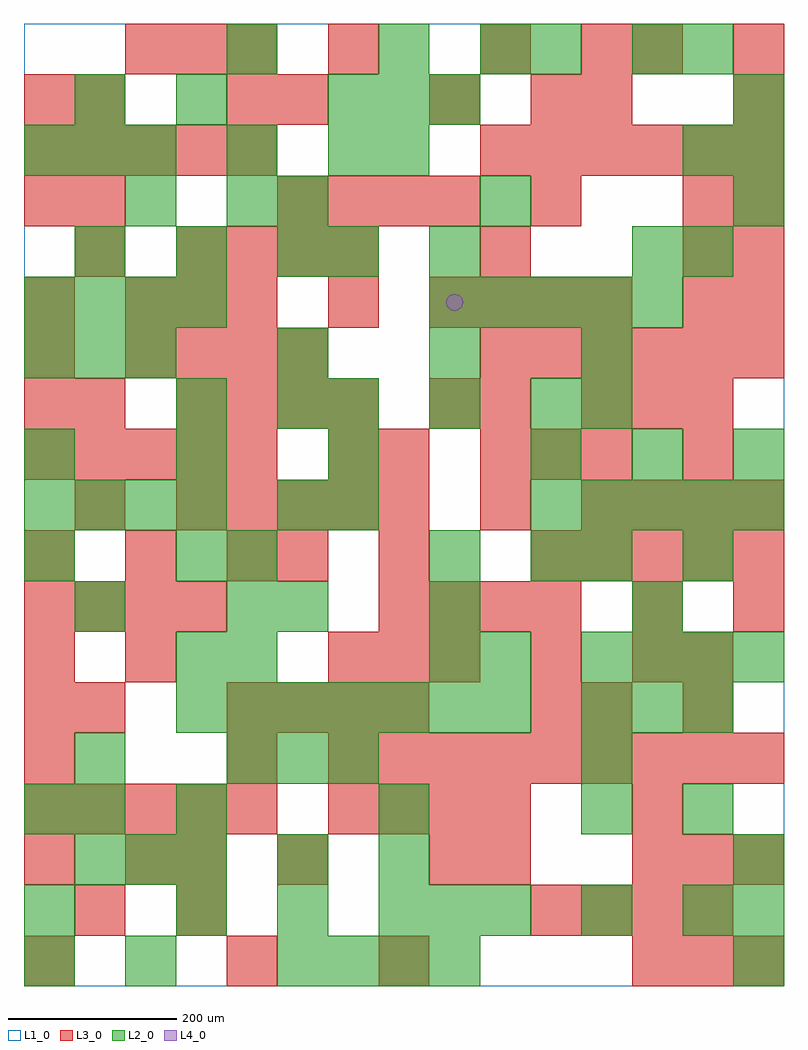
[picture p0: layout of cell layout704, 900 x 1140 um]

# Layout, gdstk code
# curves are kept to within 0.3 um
import gdstk
lib = gdstk.Library(unit=1e-6, precision=1e-09)
def R(c, l, rs):  # rectangles x0, y0, x1, y1
    for r in rs: c.add(gdstk.rectangle(r[:2], r[2:], *l))
def A(c, l, x, y, w, h, nx, ny, dx, dy):  # array of equal rectangles
    R(c, l, [(x+i*dx, y+j*dy, x+i*dx+w, y+j*dy+h) for i in range(nx) for j in range(ny)])
def P(c, l, *ps):  # polygons
    for p in ps: c.add(gdstk.Polygon(p, *l))
L1_0 = (1, 0)
L2_0 = (2, 0)
L3_0 = (3, 0)
L4_0 = (4, 0)

layout704 = lib.new_cell('layout704')
R(layout704, L1_0, [(0,0,900,1140)])
A(layout704, L2_0, 300, 0, 60, 60, 4, 1, 60, 0)
A(layout704, L2_0, 840, 0, 60, 60, 1, 3, 0, 60)
A(layout704, L2_0, 180, 60, 60, 60, 3, 1, 120, 0)
A(layout704, L2_0, 540, 60, 60, 60, 3, 1, 120, 0)
A(layout704, L2_0, 60, 120, 60, 60, 3, 1, 60, 0)
A(layout704, L2_0, 180, 180, 60, 60, 3, 1, 240, 0)
A(layout704, L2_0, 240, 240, 60, 60, 3, 1, 60, 0)
A(layout704, L2_0, 180, 300, 60, 60, 7, 1, 60, 0)
A(layout704, L2_0, 660, 300, 60, 60, 3, 1, 60, 0)
A(layout704, L2_0, 240, 360, 60, 60, 1, 3, 0, 60)
A(layout704, L2_0, 480, 360, 60, 60, 1, 3, 0, 60)
A(layout704, L2_0, 660, 360, 60, 60, 4, 1, 60, 0)
A(layout704, L2_0, 300, 420, 60, 60, 1, 3, 0, 120)
A(layout704, L2_0, 0, 540, 60, 60, 4, 2, 60, 240)
A(layout704, L2_0, 600, 540, 60, 60, 5, 1, 60, 0)
A(layout704, L2_0, 0, 600, 60, 60, 3, 1, 180, 0)
A(layout704, L2_0, 600, 600, 60, 60, 3, 1, 120, 0)
A(layout704, L2_0, 360, 660, 60, 60, 3, 1, 120, 0)
A(layout704, L2_0, 0, 720, 60, 60, 3, 2, 60, 240)
A(layout704, L2_0, 300, 720, 60, 60, 3, 1, 180, 0)
A(layout704, L2_0, 480, 780, 60, 60, 5, 1, 60, 0)
A(layout704, L2_0, 60, 840, 60, 60, 3, 1, 120, 0)
A(layout704, L2_0, 780, 840, 60, 60, 1, 3, 0, 120)
A(layout704, L2_0, 840, 900, 60, 60, 1, 3, 0, 60)
A(layout704, L2_0, 360, 1020, 60, 60, 3, 1, 60, 0)
R(layout704, L2_0, [(0,0,60,60), (120,0,180,60), (0,60,60,120), (480,60,540,120), (300,120,360,180), (420,120,480,180), (0,180,60,240), (60,180,120,240), (780,180,840,240), (60,240,120,300), (660,240,720,300), (180,360,240,420), (540,360,600,420), (60,420,120,480), (720,420,780,480), (0,480,60,540), (180,480,240,540), (600,480,660,540), (660,480,720,540), (780,480,840,540), (360,540,420,600), (180,660,240,720), (660,660,720,720), (360,840,420,900), (480,840,540,900), (720,840,780,900), (120,900,180,960), (240,900,300,960), (300,900,360,960), (540,900,600,960), (240,960,300,1020), (360,960,420,1020), (420,960,480,1020), (60,1020,120,1080), (180,1020,240,1080), (240,1080,300,1140), (420,1080,480,1140), (540,1080,600,1140), (600,1080,660,1140), (720,1080,780,1140)])
A(layout704, L3_0, 0, 0, 60, 60, 1, 3, 0, 120)
A(layout704, L3_0, 720, 0, 60, 60, 3, 2, 60, 120)
A(layout704, L3_0, 60, 60, 60, 60, 1, 3, 0, 240)
A(layout704, L3_0, 600, 60, 60, 60, 4, 1, 60, 0)
A(layout704, L3_0, 0, 180, 60, 60, 5, 2, 60, 420)
A(layout704, L3_0, 360, 180, 60, 60, 4, 1, 60, 0)
A(layout704, L3_0, 360, 240, 60, 60, 9, 1, 60, 0)
A(layout704, L3_0, 240, 300, 60, 60, 4, 1, 60, 0)
A(layout704, L3_0, 360, 360, 60, 60, 3, 1, 60, 0)
A(layout704, L3_0, 0, 420, 60, 60, 4, 1, 60, 0)
A(layout704, L3_0, 420, 420, 60, 60, 4, 1, 60, 0)
A(layout704, L3_0, 0, 480, 60, 60, 3, 1, 120, 0)
A(layout704, L3_0, 600, 480, 60, 60, 5, 1, 60, 0)
A(layout704, L3_0, 180, 540, 60, 60, 5, 1, 60, 0)
A(layout704, L3_0, 660, 540, 60, 60, 4, 1, 60, 0)
A(layout704, L3_0, 540, 600, 60, 60, 3, 1, 60, 0)
A(layout704, L3_0, 0, 660, 60, 60, 1, 3, 0, 60)
A(layout704, L3_0, 180, 660, 60, 60, 4, 2, 60, 180)
A(layout704, L3_0, 660, 660, 60, 60, 3, 1, 60, 0)
A(layout704, L3_0, 120, 720, 60, 60, 4, 1, 60, 0)
A(layout704, L3_0, 540, 720, 60, 60, 6, 2, 60, 240)
A(layout704, L3_0, 120, 780, 60, 60, 3, 2, 60, 300)
A(layout704, L3_0, 480, 780, 60, 60, 4, 1, 60, 0)
A(layout704, L3_0, 780, 780, 60, 60, 1, 3, 0, 60)
A(layout704, L3_0, 840, 780, 60, 60, 1, 3, 0, 60)
A(layout704, L3_0, 300, 900, 60, 60, 4, 1, 60, 0)
A(layout704, L3_0, 0, 960, 60, 60, 5, 1, 60, 0)
R(layout704, L3_0, [(240,0,300,60), (420,0,480,60), (180,60,240,120), (120,120,180,180), (180,120,240,180), (300,120,360,180), (480,120,540,180), (540,120,600,180), (720,180,780,240), (240,240,300,300), (0,300,60,360), (600,300,660,360), (660,300,720,360), (780,300,840,360), (0,360,60,420), (120,360,180,420), (600,360,660,420), (720,360,780,420), (780,360,840,420), (720,420,780,480), (840,420,900,480), (300,480,360,540), (420,480,480,540), (540,540,600,600), (360,600,420,660), (420,600,480,660), (780,600,840,660), (60,660,120,720), (480,660,540,720), (540,660,600,720), (360,780,420,840), (60,840,120,900), (540,840,600,900), (0,900,60,960), (60,900,120,960), (600,900,660,960), (0,1020,60,1080), (60,1020,120,1080), (240,1020,300,1080), (300,1020,360,1080), (480,1020,540,1080), (600,1020,660,1080), (660,1020,720,1080), (840,1020,900,1080), (360,1080,420,1140), (540,1080,600,1140), (660,1080,720,1140), (720,1080,780,1140), (840,1080,900,1140)])
P(layout704, L4_0, [(520,810),(519.239,813.827),(517.071,817.071),(513.827,819.239),(510,820),(506.173,819.239),(502.929,817.071),(500.761,813.827),(500,810),(500.761,806.173),(502.929,802.929),(506.173,800.761),(510,800),(513.827,800.761),(517.071,802.929),(519.239,806.173)])

lib.write_gds('layout704.gds')
